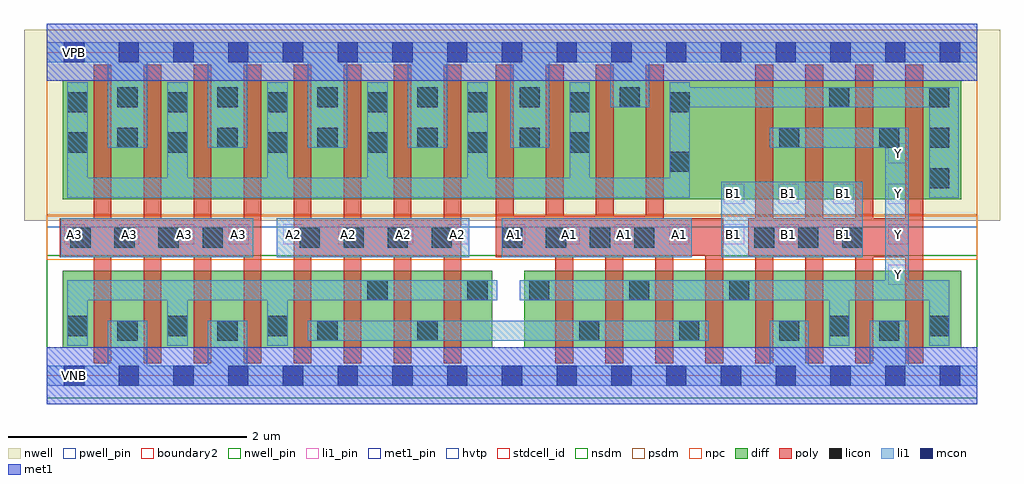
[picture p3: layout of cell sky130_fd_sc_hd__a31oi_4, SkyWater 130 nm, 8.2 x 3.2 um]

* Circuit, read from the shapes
.subckt sky130_fd_sc_hd__a31oi_4 A1 A2 A3 B1 VGND VNB VPB VPWR Y
XM1 VGND A3 n1 VNB sky130_fd_pr__nfet_01v8 w=0.65 l=0.15 m=4
XM2 n2 A2 n1 VNB sky130_fd_pr__nfet_01v8 w=0.65 l=0.15 m=4
XM3 n2 A1 Y VNB sky130_fd_pr__nfet_01v8 w=0.65 l=0.15 m=4
XM4 VGND B1 Y VNB sky130_fd_pr__nfet_01v8 w=0.65 l=0.15 m=4
XM5 VPWR A3 n3 VPB sky130_fd_pr__pfet_01v8_hvt w=1 l=0.15 m=4
XM6 VPWR A2 n3 VPB sky130_fd_pr__pfet_01v8_hvt w=1 l=0.15 m=4
XM7 VPWR A1 n3 VPB sky130_fd_pr__pfet_01v8_hvt w=1 l=0.15 m=4
XM8 Y B1 n3 VPB sky130_fd_pr__pfet_01v8_hvt w=1 l=0.15 m=4
.ends

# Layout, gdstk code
import gdstk
lib = gdstk.Library(unit=1e-6, precision=1e-09)
def R(c, l, rs):  # rectangles x0, y0, x1, y1
    for r in rs: c.add(gdstk.rectangle(r[:2], r[2:], *l))
def A(c, l, x, y, w, h, nx, ny, dx, dy):  # array of equal rectangles
    R(c, l, [(x+i*dx, y+j*dy, x+i*dx+w, y+j*dy+h) for i in range(nx) for j in range(ny)])
def P(c, l, *ps):  # polygons
    for p in ps: c.add(gdstk.Polygon(p, *l))
nwell_pin = (64, 16)
nwell = (64, 20)
diff = (65, 20)
poly = (66, 20)
licon = (66, 44)
li1_pin = (67, 16)
li1 = (67, 20)
mcon = (67, 44)
met1_pin = (68, 16)
met1 = (68, 20)
hvtp = (78, 44)
stdcell_id = (81, 4)
nsdm = (93, 44)
psdm = (94, 20)
npc = (95, 20)
pwell_pin = (122, 16)
boundary2 = (236, 0)

sky130_fd_sc_hd__a31oi_4 = lib.new_cell('sky130_fd_sc_hd__a31oi_4')
R(sky130_fd_sc_hd__a31oi_4, nwell_pin, [(0.15,2.635,0.32,2.805)])
R(sky130_fd_sc_hd__a31oi_4, nwell, [(-0.19,1.305,8.01,2.91)])
R(sky130_fd_sc_hd__a31oi_4, diff, [(0.135,0.235,3.745,0.885), (4.015,0.235,7.685,0.885), (0.135,1.485,7.685,2.485)])
P(sky130_fd_sc_hd__a31oi_4, poly, [(5.955,0.105),(5.955,0.995),(5.895,0.995),(5.895,1.325),(5.955,1.325),(5.955,2.615),(6.105,2.615),(6.105,1.325),(6.375,1.325),(6.375,2.615),(6.525,2.615),(6.525,1.325),(6.795,1.325),(6.795,2.615),(6.945,2.615),(6.945,1.325),(7.215,1.325),(7.215,2.615),(7.365,2.615),(7.365,0.105),(7.215,0.105),(7.215,0.995),(6.945,0.995),(6.945,0.105),(6.795,0.105),(6.795,0.995),(6.525,0.995),(6.525,0.105),(6.375,0.105),(6.375,0.995),(6.105,0.995),(6.105,0.105)],
  [(4.275,0.105),(4.275,0.995),(3.775,0.995),(3.775,2.615),(3.925,2.615),(3.925,1.345),(4.195,1.345),(4.195,2.615),(4.345,2.615),(4.345,1.345),(4.615,1.345),(4.615,2.615),(4.765,2.615),(4.765,1.345),(5.035,1.345),(5.035,2.615),(5.185,2.615),(5.185,1.325),(5.685,1.325),(5.685,0.105),(5.535,0.105),(5.535,1.01),(5.265,1.01),(5.265,0.105),(5.115,0.105),(5.115,0.995),(4.845,0.995),(4.845,0.105),(4.695,0.105),(4.695,0.995),(4.425,0.995),(4.425,0.105)],
  [(2.075,0.105),(2.075,2.615),(2.225,2.615),(2.225,1.325),(2.495,1.325),(2.495,2.615),(2.645,2.615),(2.645,1.325),(2.915,1.325),(2.915,2.615),(3.065,2.615),(3.065,1.325),(3.335,1.325),(3.335,2.615),(3.485,2.615),(3.485,0.105),(3.335,0.105),(3.335,0.995),(3.065,0.995),(3.065,0.105),(2.915,0.105),(2.915,0.995),(2.645,0.995),(2.645,0.105),(2.495,0.105),(2.495,0.995),(2.225,0.995),(2.225,0.105)],
  [(0.395,0.105),(0.395,0.995),(0.11,0.995),(0.11,1.325),(0.395,1.325),(0.395,2.615),(0.545,2.615),(0.545,1.325),(0.815,1.325),(0.815,2.615),(0.965,2.615),(0.965,1.325),(1.235,1.325),(1.235,2.615),(1.385,2.615),(1.385,1.325),(1.655,1.325),(1.655,2.615),(1.805,2.615),(1.805,0.105),(1.655,0.105),(1.655,0.995),(1.385,0.995),(1.385,0.105),(1.235,0.105),(1.235,0.995),(0.965,0.995),(0.965,0.105),(0.815,0.105),(0.815,0.995),(0.545,0.995),(0.545,0.105)])
A(sky130_fd_sc_hd__a31oi_4, licon, 0.595, 0.295, 0.17, 0.17, 4, 2, 0.84, 1.62)
A(sky130_fd_sc_hd__a31oi_4, licon, 4.475, 0.295, 0.17, 0.17, 4, 1, 0.84, 0)
A(sky130_fd_sc_hd__a31oi_4, licon, 0.175, 0.335, 0.17, 0.17, 3, 1, 0.84, 0)
A(sky130_fd_sc_hd__a31oi_4, licon, 4.055, 0.635, 0.17, 0.17, 3, 1, 0.84, 0)
A(sky130_fd_sc_hd__a31oi_4, licon, 0.2, 1.075, 0.17, 0.17, 4, 1, 0.37, 0)
A(sky130_fd_sc_hd__a31oi_4, licon, 2.125, 1.075, 0.17, 0.17, 4, 1, 0.37, 0)
A(sky130_fd_sc_hd__a31oi_4, licon, 3.825, 1.075, 0.17, 0.17, 4, 1, 0.37, 0)
A(sky130_fd_sc_hd__a31oi_4, licon, 5.945, 1.075, 0.17, 0.17, 3, 1, 0.37, 0)
A(sky130_fd_sc_hd__a31oi_4, licon, 7.415, 1.575, 0.17, 0.17, 1, 3, 0, 0.34)
A(sky130_fd_sc_hd__a31oi_4, licon, 0.175, 1.875, 0.17, 0.17, 5, 2, 0.84, 0.34)
A(sky130_fd_sc_hd__a31oi_4, licon, 0.595, 2.255, 0.17, 0.17, 4, 1, 0.84, 0)
R(sky130_fd_sc_hd__a31oi_4, licon, [(6.575,0.335,6.745,0.505), (7.415,0.335,7.585,0.505), (2.695,0.635,2.865,0.805), (3.535,0.635,3.705,0.805), (5.235,1.715,5.405,1.885), (4.395,1.875,4.565,2.045), (3.975,1.915,4.145,2.085), (6.155,1.915,6.325,2.085), (6.995,1.915,7.165,2.085), (4.395,2.215,4.565,2.385), (5.235,2.215,5.405,2.385), (3.975,2.255,4.145,2.425), (4.815,2.255,4.985,2.425), (6.575,2.255,6.745,2.425)])
A(sky130_fd_sc_hd__a31oi_4, li1_pin, 0.15, 1.105, 0.17, 0.17, 8, 1, 0.46, 0)
A(sky130_fd_sc_hd__a31oi_4, li1_pin, 3.85, 1.105, 0.17, 0.17, 8, 1, 0.46, 0)
A(sky130_fd_sc_hd__a31oi_4, li1_pin, 5.69, 1.445, 0.17, 0.17, 4, 1, 0.46, 0)
R(sky130_fd_sc_hd__a31oi_4, li1_pin, [(7.07,0.765,7.24,0.935), (7.07,1.785,7.24,1.955)])
R(sky130_fd_sc_hd__a31oi_4, li1, [(2.195,0.295,5.565,0.465), (0.12,0.995,1.735,1.325), (1.935,0.995,3.55,1.325), (3.825,0.995,5.42,1.325), (5.67,0.995,6.855,1.63)])
P(sky130_fd_sc_hd__a31oi_4, li1, [(6.575,0.255),(6.575,0.635),(3.975,0.635),(3.975,0.805),(7.045,0.805),(7.045,1.915),(6.075,1.915),(6.075,2.085),(7.245,2.085),(7.245,0.805),(7.585,0.805),(7.585,0.255),(7.415,0.255),(7.415,0.635),(6.745,0.635),(6.745,0.255)],
  [(0.175,0.255),(0.175,0.805),(3.785,0.805),(3.785,0.635),(2.025,0.635),(2.025,0.255),(1.855,0.255),(1.855,0.635),(1.185,0.635),(1.185,0.255),(1.015,0.255),(1.015,0.635),(0.345,0.635),(0.345,0.255)],
  [(0,-0.085),(0,0.085),(0.515,0.085),(0.515,0.465),(0.845,0.465),(0.845,0.085),(1.355,0.085),(1.355,0.465),(1.685,0.465),(1.685,0.085),(6.075,0.085),(6.075,0.465),(6.405,0.465),(6.405,0.085),(6.915,0.085),(6.915,0.465),(7.245,0.465),(7.245,0.085),(7.82,0.085),(7.82,-0.085)],
  [(0.515,1.915),(0.515,2.635),(0,2.635),(0,2.805),(7.82,2.805),(7.82,2.635),(5.065,2.635),(5.065,2.255),(4.735,2.255),(4.735,2.635),(4.225,2.635),(4.225,1.915),(3.895,1.915),(3.895,2.635),(3.365,2.635),(3.365,1.915),(3.035,1.915),(3.035,2.635),(2.525,2.635),(2.525,1.915),(2.195,1.915),(2.195,2.635),(1.685,2.635),(1.685,1.915),(1.355,1.915),(1.355,2.635),(0.845,2.635),(0.845,1.915)],
  [(0.175,1.495),(0.175,2.465),(0.345,2.465),(0.345,1.665),(1.015,1.665),(1.015,2.465),(1.185,2.465),(1.185,1.665),(1.855,1.665),(1.855,2.465),(2.025,2.465),(2.025,1.665),(2.695,1.665),(2.695,2.465),(2.865,2.465),(2.865,1.665),(3.535,1.665),(3.535,2.465),(3.705,2.465),(3.705,1.665),(4.395,1.665),(4.395,2.465),(4.565,2.465),(4.565,1.665),(5.235,1.665),(5.235,2.465),(5.405,2.465),(5.405,2.425),(7.665,2.425),(7.665,1.495),(7.415,1.495),(7.415,2.255),(5.405,2.255),(5.405,1.495)])
A(sky130_fd_sc_hd__a31oi_4, mcon, 0.145, -0.085, 0.17, 0.17, 17, 2, 0.46, 2.72)
R(sky130_fd_sc_hd__a31oi_4, met1_pin, [(0.15,-0.085,0.32,0.085), (0.15,2.635,0.32,2.805)])
R(sky130_fd_sc_hd__a31oi_4, hvtp, [(0,1.25,7.82,2.72)])
R(sky130_fd_sc_hd__a31oi_4, stdcell_id, [(0,0,7.82,2.72)])
R(sky130_fd_sc_hd__a31oi_4, nsdm, [(0,-0.19,7.82,1.015)])
R(sky130_fd_sc_hd__a31oi_4, psdm, [(0,1.355,7.82,2.91)])
R(sky130_fd_sc_hd__a31oi_4, npc, [(0,0.975,7.82,1.345)])
R(sky130_fd_sc_hd__a31oi_4, pwell_pin, [(0.15,-0.085,0.32,0.085)])
R(sky130_fd_sc_hd__a31oi_4, boundary2, [(0,0,7.82,2.72)])
sky130_fd_sc_hd__a31oi_4.add(gdstk.FlexPath([(0,2.72),(7.82,2.72)], 0.48, ends="flush", simple_path=True, layer=68, datatype=20))  # met1
sky130_fd_sc_hd__a31oi_4.add(gdstk.FlexPath([(0,0),(7.82,0)], 0.48, ends="flush", simple_path=True, layer=68, datatype=20))  # met1
sky130_fd_sc_hd__a31oi_4.add(gdstk.Label('Y', (7.155,0.85), layer=67, texttype=5))
sky130_fd_sc_hd__a31oi_4.add(gdstk.Label('Y', (7.155,1.19), layer=67, texttype=5))
sky130_fd_sc_hd__a31oi_4.add(gdstk.Label('Y', (7.155,1.53), layer=67, texttype=5))
sky130_fd_sc_hd__a31oi_4.add(gdstk.Label('Y', (7.155,1.87), layer=67, texttype=5))
sky130_fd_sc_hd__a31oi_4.add(gdstk.Label('B1', (5.775,1.53), layer=67, texttype=5))
sky130_fd_sc_hd__a31oi_4.add(gdstk.Label('A1', (3.935,1.19), layer=67, texttype=5))
sky130_fd_sc_hd__a31oi_4.add(gdstk.Label('A3', (1.615,1.19), layer=67, texttype=5))
sky130_fd_sc_hd__a31oi_4.add(gdstk.Label('B1', (5.775,1.19), layer=67, texttype=5))
sky130_fd_sc_hd__a31oi_4.add(gdstk.Label('B1', (6.695,1.53), layer=67, texttype=5))
sky130_fd_sc_hd__a31oi_4.add(gdstk.Label('B1', (6.235,1.53), layer=67, texttype=5))
sky130_fd_sc_hd__a31oi_4.add(gdstk.Label('B1', (6.695,1.19), layer=67, texttype=5))
sky130_fd_sc_hd__a31oi_4.add(gdstk.Label('B1', (6.235,1.19), layer=67, texttype=5))
sky130_fd_sc_hd__a31oi_4.add(gdstk.Label('A2', (2.995,1.19), layer=67, texttype=5))
sky130_fd_sc_hd__a31oi_4.add(gdstk.Label('A2', (2.535,1.19), layer=67, texttype=5))
sky130_fd_sc_hd__a31oi_4.add(gdstk.Label('A2', (2.075,1.19), layer=67, texttype=5))
sky130_fd_sc_hd__a31oi_4.add(gdstk.Label('A1', (5.315,1.19), layer=67, texttype=5))
sky130_fd_sc_hd__a31oi_4.add(gdstk.Label('A3', (1.155,1.19), layer=67, texttype=5))
sky130_fd_sc_hd__a31oi_4.add(gdstk.Label('A3', (0.695,1.19), layer=67, texttype=5))
sky130_fd_sc_hd__a31oi_4.add(gdstk.Label('A3', (0.235,1.19), layer=67, texttype=5))
sky130_fd_sc_hd__a31oi_4.add(gdstk.Label('A2', (3.455,1.19), layer=67, texttype=5))
sky130_fd_sc_hd__a31oi_4.add(gdstk.Label('A1', (4.855,1.19), layer=67, texttype=5))
sky130_fd_sc_hd__a31oi_4.add(gdstk.Label('A1', (4.395,1.19), layer=67, texttype=5))
sky130_fd_sc_hd__a31oi_4.add(gdstk.Label('VNB', (0.235,0), layer=64, texttype=59))
sky130_fd_sc_hd__a31oi_4.add(gdstk.Label('VPB', (0.235,2.72), layer=64, texttype=5))
sky130_fd_sc_hd__a31oi_4.add(gdstk.Label('VPWR', (0.23,2.72), layer=68, texttype=5))
sky130_fd_sc_hd__a31oi_4.add(gdstk.Label('VGND', (0.23,0), layer=68, texttype=5))
sky130_fd_sc_hd__a31oi_4.add(gdstk.Label('a31oi_4', (0,0), layer=83, texttype=44))

lib.write_gds('sky130_fd_sc_hd__a31oi_4.gds')
